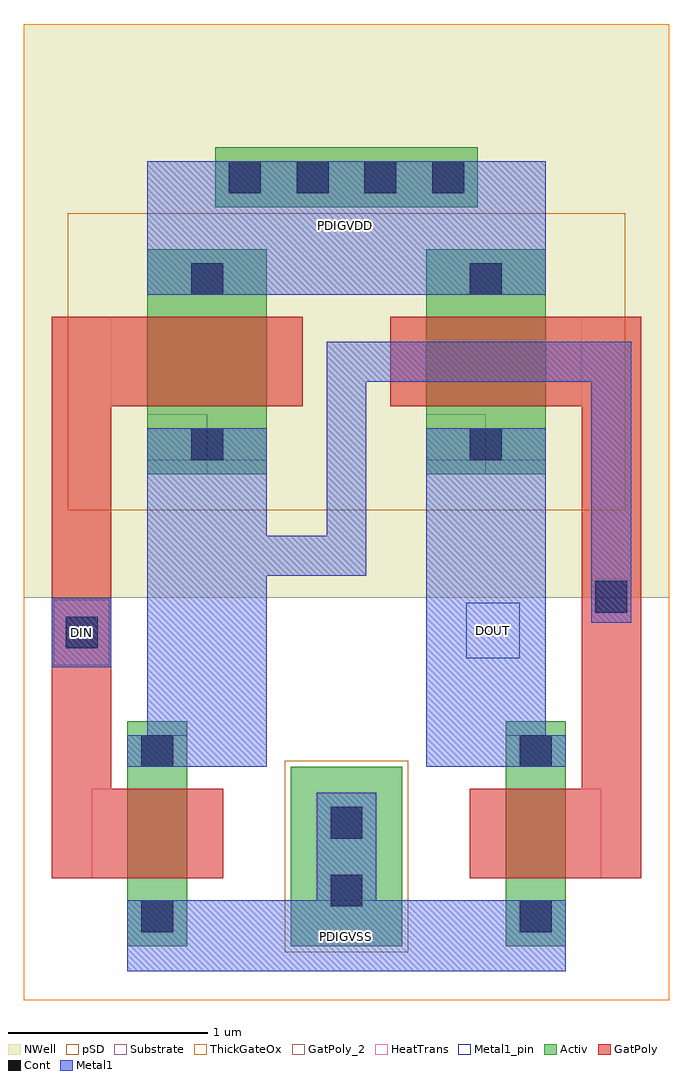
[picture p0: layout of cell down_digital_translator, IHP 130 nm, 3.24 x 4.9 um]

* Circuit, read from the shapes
.subckt down_digital_translator DIN DOUT PDIGVDD PDIGVSS
XM1 n1 DIN PDIGVSS PDIGVSS sg13_hv_nmos w=0.3u l=0.45u
XM2 DOUT n1 PDIGVSS PDIGVSS sg13_hv_nmos w=0.3u l=0.45u
XM3 PDIGVDD DIN n1 PDIGVDD sg13_hv_pmos w=0.6u l=0.45u
XM4 PDIGVDD n1 DOUT PDIGVDD sg13_hv_pmos w=0.6u l=0.45u
.ends

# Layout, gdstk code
from math import pi, radians
import gdstk
lib = gdstk.Library(unit=1e-6, precision=5e-09)
def R(c, l, rs):  # rectangles x0, y0, x1, y1
    for r in rs: c.add(gdstk.rectangle(r[:2], r[2:], *l))
def A(c, l, x, y, w, h, nx, ny, dx, dy):  # array of equal rectangles
    R(c, l, [(x+i*dx, y+j*dy, x+i*dx+w, y+j*dy+h) for i in range(nx) for j in range(ny)])
Activ = (1, 0)
GatPoly = (5, 0)
GatPoly_2 = (5, 2)
Cont = (6, 0)
Metal1 = (8, 0)
Metal1_pin = (8, 2)
pSD = (14, 0)
NWell = (31, 0)
Substrate = (40, 0)
ThickGateOx = (44, 0)
HeatTrans = (51, 0)

pmoshv_1 = lib.new_cell('pmosHV$1')
R(pmoshv_1, Activ, [(0,0,0.3,0.3), (0,0,1.13,0.6), (0.83,0,1.13,0.3)])
R(pmoshv_1, GatPoly, [(0.34,-0.18,0.79,0.78)])
R(pmoshv_1, GatPoly_2, [(0.34,-0.18,0.79,0.78)])
R(pmoshv_1, Cont, [(0.07,0.22,0.23,0.38), (0.9,0.22,1.06,0.38)])
R(pmoshv_1, Metal1, [(0.07,0,0.23,0.6), (0.9,0,1.06,0.6)])
R(pmoshv_1, Metal1_pin, [(0.07,0,0.23,0.6), (0.9,0,1.06,0.6)])
R(pmoshv_1, pSD, [(-0.18,-0.4,1.31,1)])
R(pmoshv_1, NWell, [(-0.62,-0.62,1.75,1.22)])
R(pmoshv_1, Substrate, [(0.83,0,1.13,0.3)])
R(pmoshv_1, ThickGateOx, [(-0.62,-0.62,1.75,1.22)])
R(pmoshv_1, HeatTrans, [(0.34,-0.18,0.79,0.78)])
pmoshv_1.add(gdstk.Label('pmosHV', (0.565,0.3), layer=63, texttype=0))
pmoshv_1.add(gdstk.Label('pmos', (0.565,0.3), layer=51, texttype=0))

via_stack = lib.new_cell('via_stack')
R(via_stack, Activ, [(-0.66,-0.15,0.66,0.15)])
A(via_stack, Cont, -0.59, -0.08, 0.16, 0.16, 4, 1, 0.34, 0)
R(via_stack, Metal1, [(-0.64,-0.08,0.64,0.08)])

via_stack_2 = lib.new_cell('via_stack$2')
R(via_stack_2, Activ, [(-0.32,-0.15,0.32,0.15)])
R(via_stack_2, Cont, [(-0.25,-0.08,-0.09,0.08), (0.09,-0.08,0.25,0.08)])
R(via_stack_2, Metal1, [(-0.3,-0.08,0.3,0.08)])

nmoshv_1 = lib.new_cell('nmosHV$1')
R(nmoshv_1, Activ, [(0,0,0.3,0.3), (0,0,1.13,0.3), (0.83,0,1.13,0.3)])
R(nmoshv_1, GatPoly, [(0.34,-0.18,0.79,0.48)])
R(nmoshv_1, GatPoly_2, [(0.34,-0.18,0.79,0.48)])
R(nmoshv_1, Cont, [(0.07,0.07,0.23,0.23), (0.9,0.07,1.06,0.23)])
R(nmoshv_1, Metal1, [(0.07,0,0.23,0.3), (0.9,0,1.06,0.3)])
R(nmoshv_1, Metal1_pin, [(0.07,0,0.23,0.3), (0.9,0,1.06,0.3)])
R(nmoshv_1, ThickGateOx, [(-0.27,-0.52,1.4,0.82)])
R(nmoshv_1, HeatTrans, [(0.34,-0.18,0.79,0.48)])
nmoshv_1.add(gdstk.Label('nmosHV', (0.565,0.15), layer=63, texttype=0))
nmoshv_1.add(gdstk.Label('nmosHV', (0.565,0.15), layer=51, texttype=0))

via_stack_4 = lib.new_cell('via_stack$4')
R(via_stack_4, GatPoly, [(-0.15,-0.15,0.15,0.15)])
R(via_stack_4, Cont, [(-0.08,-0.08,0.08,0.08)])
R(via_stack_4, Metal1, [(-0.13,-0.08,0.13,0.08)])

down_digital_translator = lib.new_cell('down_digital_translator')
R(down_digital_translator, Activ, [(1.34,0.27,1.9,1.17)])
R(down_digital_translator, GatPoly, [(0.14,0.61,0.44,3.43), (2.8,0.61,3.1,3.43)])
R(down_digital_translator, Metal1, [(0.52,0.145,2.72,0.5), (1.47,0.5,1.77,1.04), (0.62,1.17,1.22,2.71), (2.02,1.17,2.62,2.71), (0.14,1.67,0.44,2.02), (0.62,3.54,2.62,4.21)])
R(down_digital_translator, Metal1_pin, [(0.52,0.145,2.72,0.5), (0.15,1.68,0.43,2.01), (2.22,1.715,2.49,1.995), (0.62,3.54,2.62,4.21)])
R(down_digital_translator, pSD, [(1.31,0.24,1.93,1.2)])
R(down_digital_translator, NWell, [(0,4.39,3.24,4.9)])
R(down_digital_translator, ThickGateOx, [(1.34,0,1.9,1.67), (0,1.67,3.24,2.02), (0,4.39,3.24,4.9)])
down_digital_translator.add(gdstk.FlexPath([(1.22,2.23),(1.62,2.23),(1.62,3.205),(2.95,3.205),(2.95,1.895),(2.95,1.895)], 0.2, ends="flush", simple_path=True, layer=8, datatype=0))  # Metal1
down_digital_translator.add(gdstk.Reference(pmoshv_1, (2.02,3.77), rotation=3*pi/2))
down_digital_translator.add(gdstk.Reference(pmoshv_1, (0.62,3.77), rotation=3*pi/2))
down_digital_translator.add(gdstk.Reference(via_stack, (1.62,4.13)))
down_digital_translator.add(gdstk.Reference(via_stack_2, (1.62,0.72), rotation=pi/2))
down_digital_translator.add(gdstk.Reference(nmoshv_1, (2.42,1.4), rotation=3*pi/2))
down_digital_translator.add(gdstk.Reference(nmoshv_1, (0.52,1.4), rotation=3*pi/2))
down_digital_translator.add(gdstk.Reference(via_stack_4, (2.95,2.025), rotation=pi/2))
down_digital_translator.add(gdstk.Reference(via_stack_4, (0.29,1.845)))
down_digital_translator.add(gdstk.Label('DOUT', (2.355,1.855), layer=8, texttype=2))
down_digital_translator.add(gdstk.Label('PDIGVDD', (1.615,3.89), layer=8, texttype=25))
down_digital_translator.add(gdstk.Label('DIN', (0.29,1.845), layer=8, texttype=25))
down_digital_translator.add(gdstk.Label('PDIGVSS', (1.62,0.32), layer=8, texttype=25))

lib.write_gds('down_digital_translator.gds')
